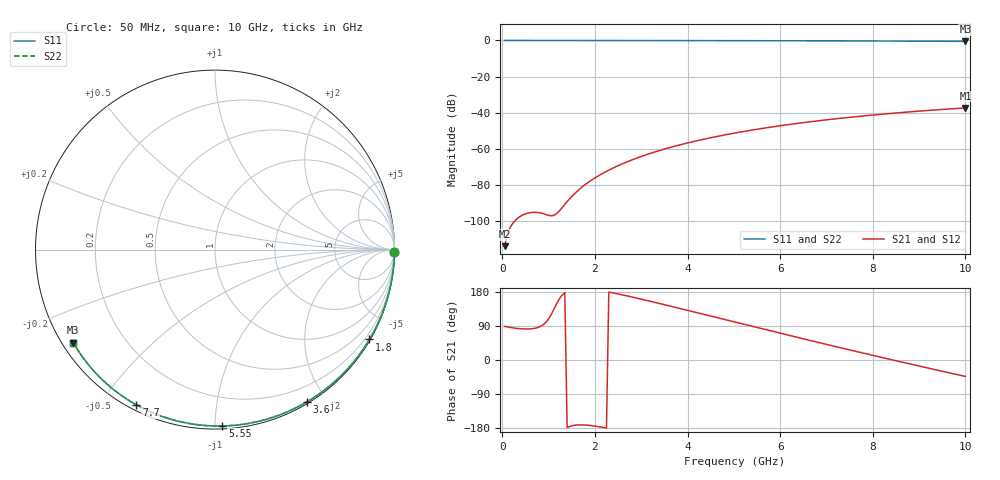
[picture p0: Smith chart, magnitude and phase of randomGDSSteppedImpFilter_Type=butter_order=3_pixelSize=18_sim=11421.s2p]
! freq	dB(S11)	phase(S11)	dB(S12)	phase(S12)
!  dB(S21)	phase(S21)	dB(S22)	phase(S22)
!S-par simulation data
#  GHz  S  DB  R 50
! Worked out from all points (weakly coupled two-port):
!   200 points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, 50 MHz to 10 GHz, reference 50 ohm
!   highest |S21| = -37.42 dB at 10 GHz (marker M1); lowest = -114.1 dB at 50 MHz (marker M2)
!   lowest |S11| = -0.5 dB at 10 GHz (marker M3), VSWR 35.04, Z = 1.55 - j14.9 ohm
!   |S11| at or under -10 dB: nowhere
!   |S22| runs from -0.5 to 0.0 dB; largest |S21 - S12| = 0
!   S11 on the Smith chart (normalised r, x): 50 MHz: open; 1.8 GHz: 0.03, -3.71; 3.6 GHz: 0.02, -1.77; 5.55 GHz: 0.02, -1.04; 7.7 GHz: 0.02, -0.61; 10 GHz: 0.03, -0.30
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0.05  -0.00 -0.9  -114.13 88.7  -114.13 88.7  -0.00 -0.9
0.45  -0.01 -7.7  -96.73 82.0  -96.73 82.0  -0.01 -7.7
0.9  -0.02 -15.2  -96.22 94.7  -96.22 94.7  -0.02 -15.2
1.3  -0.03 -21.9  -92.50 172.1  -92.50 172.1  -0.03 -21.9
1.75  -0.04 -29.4  -80.77 -171.4  -80.77 -171.4  -0.04 -29.4
1.8  -0.04 -30.2  -79.78 -171.7  -79.78 -171.7  -0.04 -30.2
1.95  -0.04 -32.6  -77.09 -173.6  -77.09 -173.6  -0.04 -32.6
2.1  -0.04 -35.1  -74.73 -176.2  -74.73 -176.2  -0.04 -35.1
2.3  -0.05 -38.3  -71.94 179.3  -71.94 179.3  -0.05 -38.3
2.5  -0.05 -41.5  -69.49 174.4  -69.49 174.4  -0.05 -41.5
2.9  -0.06 -47.9  -65.30 163.5  -65.30 163.5  -0.06 -47.9
3.4  -0.07 -55.8  -61.02 149.0  -61.02 149.0  -0.07 -55.8
3.6  -0.08 -58.8  -59.54 143.0  -59.54 143.0  -0.08 -58.8
4.3  -0.10 -69.5  -55.07 122.0  -55.07 122.0  -0.10 -69.5
5.05  -0.12 -80.5  -51.23 99.3  -51.23 99.3  -0.12 -80.5
5.55  -0.14 -87.6  -49.06 84.2  -49.06 84.2  -0.14 -87.6
6.1  -0.17 -95.3  -46.96 67.7  -46.96 67.7  -0.17 -95.3
6.7  -0.20 -103.5  -44.95 50.0  -44.95 50.0  -0.20 -103.5
7.7  -0.27 -116.8  -42.12 20.9  -42.12 20.9  -0.27 -116.8
8.35  -0.32 -125.3  -40.57 2.3  -40.57 2.3  -0.32 -125.3
9.2  -0.40 -136.3  -38.81 -21.5  -38.81 -21.5  -0.40 -136.3
10  -0.50 -146.7  -37.42 -43.3  -37.42 -43.3  -0.50 -146.7
